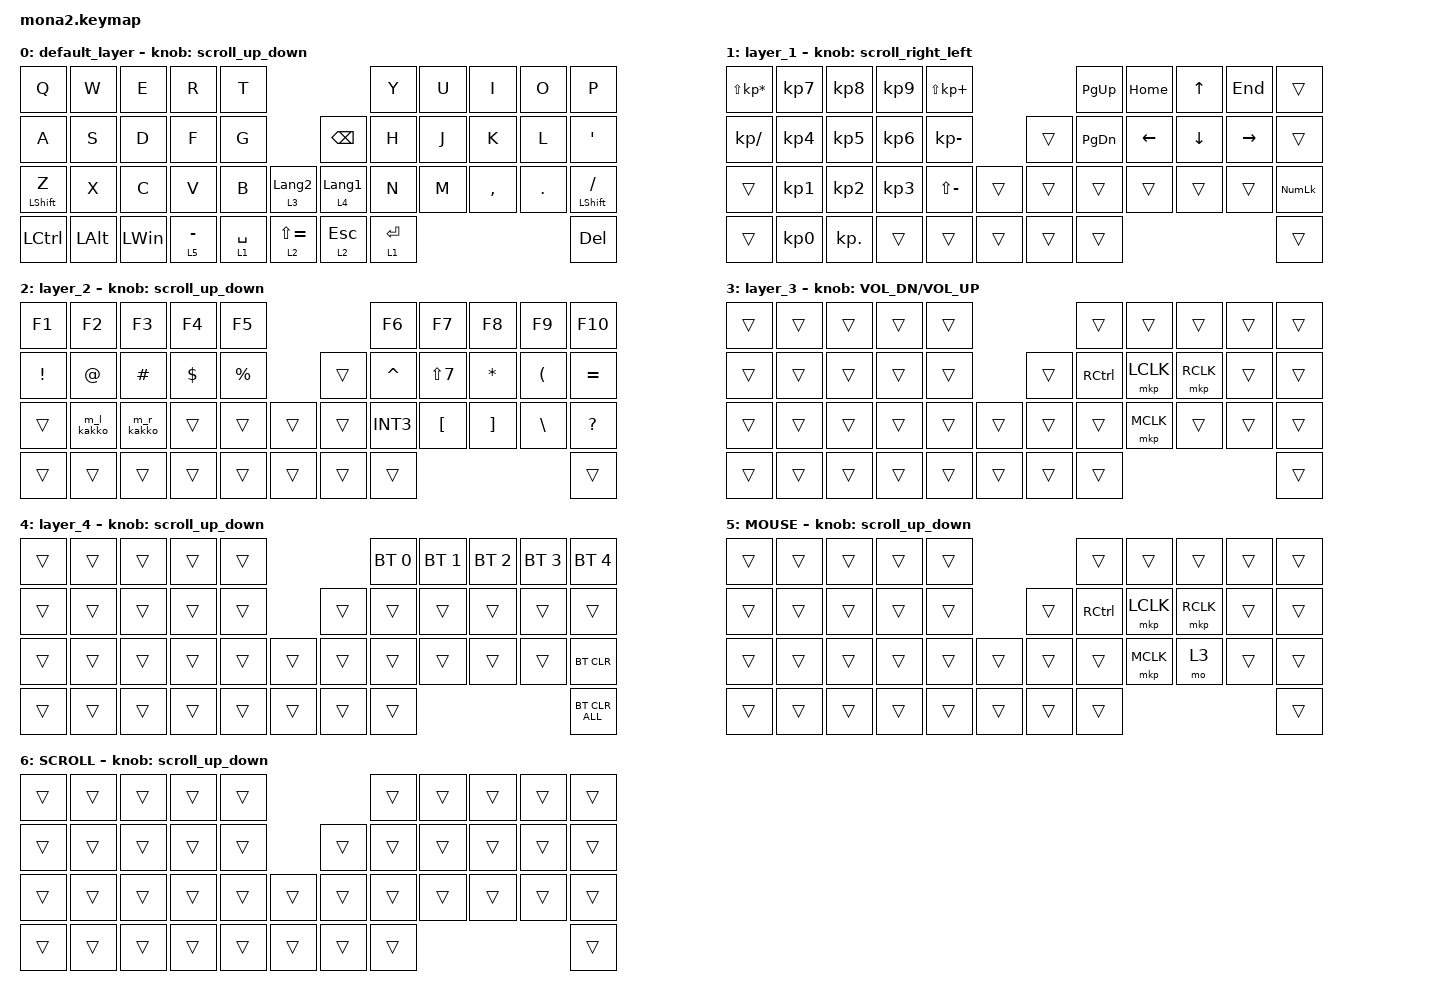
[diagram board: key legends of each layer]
#include <input/processors.dtsi>
#include <dt-bindings/zmk/input_transform.h>
#include <zephyr/dt-bindings/input/input-event-codes.h>
#include <behaviors.dtsi>
#include <dt-bindings/zmk/bt.h>
#include <dt-bindings/zmk/keys.h>
#include <dt-bindings/zmk/pointing.h>

#define ZMK_POINTING_DEFAULT_SCRL_VAL 100
#define MOUSE 5
#define SCROLL 6

&mt {
    flavor = "balanced";
    quick-tap-ms = <0>;
};

&lt {
    quick-tap-ms = <300>;
    flavor = "balanced";
};

/ {
    combos {
        compatible = "zmk,combos";

        tab {
            bindings = <&kp TAB>;
            key-positions = <11 10>;
        };

        Semicolon {
            bindings = <&kp SEMI>;
            key-positions = <19 20>;
        };

        underber {
            bindings = <&kp LS(INT1)>;
            key-positions = <31 32>;
        };
    };

    macros {
        m_chuten: to_layer_0 {
            compatible = "zmk,behavior-macro";
            #binding-cells = <0>;
            bindings =
                <&macro_press>,
                <&kp LALT>,
                <&macro_tap>,
                <&kp KP_NUMBER_1 &kp KP_NUMBER_4 &kp KP_NUMBER_9>,
                <&macro_release>,
                <&kp LALT>;

            label = "TO_LAYER_0";
        };

        m_l_kakko: m_l_kakko {
            compatible = "zmk,behavior-macro";
            #binding-cells = <0>;
            bindings =
                <&macro_press>,
                <&kp LALT>,
                <&macro_tap>,
                <&kp KP_NUMBER_9 &kp KP_NUMBER_1>,
                <&macro_release>,
                <&kp LALT>;

            label = "M_L_KAKKO";
        };

        m_r_kakko: m_r_kakko {
            compatible = "zmk,behavior-macro";
            #binding-cells = <0>;
            bindings =
                <&macro_press>,
                <&kp LALT>,
                <&macro_tap>,
                <&kp KP_NUMBER_9 &kp KP_NUMBER_3>,
                <&macro_release>,
                <&kp LALT>;

            label = "M_R_KAKKO";
        };
    };

    behaviors {
        lt_to_layer_0: lt_to_layer_0 {
            compatible = "zmk,behavior-hold-tap";
            label = "LAYER_TAP_TO_0";
            bindings = <&mo>, <&m_chuten>;

            #binding-cells = <2>;
            tapping-term-ms = <200>;
        };

        scroll_up_down: mouse_wheel_up_down {
            compatible = "zmk,behavior-sensor-rotate";
            #sensor-binding-cells = <0>;
            bindings = <&msc SCRL_DOWN>, <&msc SCRL_UP>;

            tap-ms = <20>;
        };

        scroll_right_left: mouse_wheel_right_left {
            compatible = "zmk,behavior-sensor-rotate";
            #sensor-binding-cells = <0>;
            bindings = <&msc SCRL_LEFT>, <&msc SCRL_RIGHT>;

            tap-ms = <20>;
        };
    };

    keymap {
        compatible = "zmk,keymap";

        default_layer {
            bindings = <
&kp Q             &kp W         &kp E         &kp R        &kp T                                              &kp Y        &kp U  &kp I      &kp O    &kp P
&kp A             &kp S         &kp D         &kp F        &kp G                            &kp BACKSPACE     &kp H        &kp J  &kp K      &kp L    &kp SQT
&mt LEFT_SHIFT Z  &kp X         &kp C         &kp V        &kp B        &lt 3 LANGUAGE_2    &lt 4 LANGUAGE_1  &kp N        &kp M  &kp COMMA  &kp DOT  &mt LSHIFT SLASH
&kp LCTRL         &kp LEFT_ALT  &kp LEFT_WIN  &lt 5 MINUS  &lt 1 SPACE  &lt 2 LS(EQUAL)     &lt 2 ESC         &lt 1 ENTER                             &kp DEL
            >;

            sensor-bindings = <&scroll_up_down>;
        };

        layer_1 {
            bindings = <
&kp LS(KP_ASTERISK)  &kp KP_NUMBER_7  &kp KP_NUMBER_8  &kp KP_NUMBER_9  &kp LS(KP_PLUS)                    &kp PAGE_UP    &kp HOME  &kp UP    &kp END    &trans
&kp KP_DIVIDE        &kp KP_NUMBER_4  &kp KP_NUMBER_5  &kp KP_NUMBER_6  &kp KP_MINUS               &trans  &kp PAGE_DOWN  &kp LEFT  &kp DOWN  &kp RIGHT  &trans
&trans               &kp KP_NUMBER_1  &kp KP_NUMBER_2  &kp KP_NUMBER_3  &kp LS(MINUS)    &trans    &trans  &trans         &trans    &trans    &trans     &kp KP_NUMLOCK
&trans               &kp KP_NUMBER_0  &kp KP_DOT       &trans           &trans           &trans    &trans  &trans                                        &trans
            >;

            sensor-bindings = <&scroll_right_left>;
        };

        layer_2 {
            bindings = <
&kp F1           &kp F2       &kp F3      &kp F4      &kp F5                         &kp F6     &kp F7      &kp F8        &kp F9    &kp F10
&kp EXCLAMATION  &kp AT_SIGN  &kp HASH    &kp DOLLAR  &kp PERCENT            &trans  &kp CARET  &kp LS(N7)  &kp ASTERISK  &kp LPAR  &kp EQUAL
&trans           &m_l_kakko   &m_r_kakko  &trans      &trans       &trans    &trans  &kp INT3   &kp LBKT    &kp RBKT      &kp BSLH  &kp QUESTION
&trans           &trans       &trans      &trans      &trans       &trans    &trans  &trans                                         &trans
            >;

            sensor-bindings = <&scroll_up_down>;
        };

        layer_3 {
            bindings = <
&trans  &trans  &trans  &trans  &trans                    &trans     &trans     &trans     &trans  &trans
&trans  &trans  &trans  &trans  &trans            &trans  &kp RCTRL  &mkp LCLK  &mkp RCLK  &trans  &trans
&trans  &trans  &trans  &trans  &trans  &trans    &trans  &trans     &mkp MCLK  &trans     &trans  &trans
&trans  &trans  &trans  &trans  &trans  &trans    &trans  &trans                                   &trans
            >;

            sensor-bindings = <&inc_dec_kp C_VOL_DN C_VOL_UP>;
        };

        layer_4 {
            bindings = <
&trans  &trans  &trans  &trans  &trans                    &bt BT_SEL 0  &bt BT_SEL 1  &bt BT_SEL 2  &bt BT_SEL 3  &bt BT_SEL 4
&trans  &trans  &trans  &trans  &trans            &trans  &trans        &trans        &trans        &trans        &trans
&trans  &trans  &trans  &trans  &trans  &trans    &trans  &trans        &trans        &trans        &trans        &bt BT_CLR
&trans  &trans  &trans  &trans  &trans  &trans    &trans  &trans                                                  &bt BT_CLR_ALL
            >;

            sensor-bindings = <&scroll_up_down>;
        };

        MOUSE {
            bindings = <
&trans  &trans  &trans  &trans  &trans                    &trans     &trans     &trans     &trans  &trans
&trans  &trans  &trans  &trans  &trans            &trans  &kp RCTRL  &mkp LCLK  &mkp RCLK  &trans  &trans
&trans  &trans  &trans  &trans  &trans  &trans    &trans  &trans     &mkp MCLK  &mo 3      &trans  &trans
&trans  &trans  &trans  &trans  &trans  &trans    &trans  &trans                                   &trans
            >;

            sensor-bindings = <&scroll_up_down>;
        };

        SCROLL {
            bindings = <
&trans  &trans  &trans  &trans  &trans                    &trans  &trans  &trans  &trans  &trans
&trans  &trans  &trans  &trans  &trans            &trans  &trans  &trans  &trans  &trans  &trans
&trans  &trans  &trans  &trans  &trans  &trans    &trans  &trans  &trans  &trans  &trans  &trans
&trans  &trans  &trans  &trans  &trans  &trans    &trans  &trans                          &trans
            >;

            sensor-bindings = <&scroll_up_down>;
        };
    };
};
